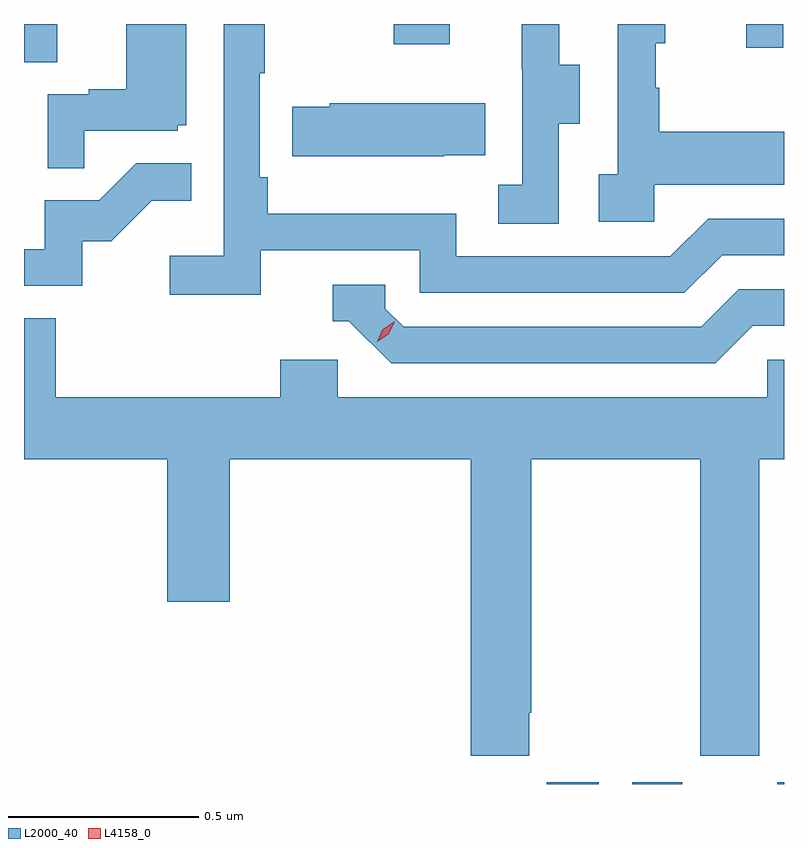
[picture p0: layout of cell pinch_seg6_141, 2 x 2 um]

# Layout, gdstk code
import gdstk
lib = gdstk.Library(unit=1e-6, precision=1e-09)
def R(c, l, rs):  # rectangles x0, y0, x1, y1
    for r in rs: c.add(gdstk.rectangle(r[:2], r[2:], *l))
def P(c, l, *ps):  # polygons
    for p in ps: c.add(gdstk.Polygon(p, *l))
L2000_40 = (2000, 40)
L4158_0 = (4158, 0)

pinch_seg6_141 = lib.new_cell('pinch_seg6_141')
R(pinch_seg6_141, L2000_40, [(993.179,921.174,993.316,921.178), (993.404,921.174,993.535,921.178), (993.785,921.174,993.803,921.178), (991.803,923.074,991.891,923.174), (993.704,923.112,993.801,923.174), (992.776,923.121,992.923,923.174)])
P(pinch_seg6_141, L2000_40, [(991.961,922.893),(992.208,922.893),(992.208,922.908),(992.23,922.908),(992.23,923.174),(992.072,923.174),(992.072,923.002),(991.973,923.002),(991.973,922.989),(991.866,922.989),(991.866,922.795),(991.961,922.795)],
  [(992.426,922.578),(992.844,922.578),(992.844,922.467),(993.541,922.467),(993.64,922.566),(993.803,922.566),(993.803,922.662),(993.603,922.662),(993.504,922.563),(992.94,922.563),(992.94,922.675),(992.444,922.675),(992.444,922.771),(992.424,922.771),(992.424,923.044),(992.437,923.044),(992.437,923.174),(992.328,923.174),(992.328,922.564),(992.187,922.564),(992.187,922.462),(992.426,922.462)],
  [(993.21,922.912),(993.265,922.912),(993.265,923.067),(993.211,923.067),(993.211,923.174),(993.113,923.174),(993.113,923.055),(993.114,923.055),(993.114,922.751),(993.051,922.751),(993.051,922.648),(993.21,922.648)],
  [(993.462,922.751),(993.803,922.751),(993.803,922.891),(993.475,922.891),(993.475,923.006),(993.465,923.006),(993.465,923.124),(993.49,923.124),(993.49,923.174),(993.366,923.174),(993.366,922.778),(993.315,922.778),(993.315,922.653),(993.462,922.653)],
  [(992.909,922.829),(993.017,922.829),(993.017,922.966),(992.607,922.966),(992.607,922.956),(992.509,922.956),(992.509,922.826),(992.909,922.826)],
  [(991.956,922.602),(992.032,922.602),(992.139,922.709),(992.243,922.709),(992.243,922.808),(992.099,922.808),(992.001,922.71),(991.857,922.71),(991.857,922.581),(991.803,922.581),(991.803,922.485),(991.956,922.485)],
  [(993.721,922.38),(993.803,922.38),(993.803,922.476),(993.684,922.476),(993.585,922.377),(992.802,922.377),(992.754,922.425),(992.754,922.488),(992.615,922.488),(992.615,922.392),(992.658,922.392),(992.769,922.281),(993.622,922.281)],
  [(991.803,922.4),(991.803,922.028),(992.18,922.028),(992.18,921.654),(992.344,921.654),(992.344,922.028),(992.978,922.028),(992.978,921.249),(993.133,921.249),(993.133,921.361),(993.138,921.361),(993.138,922.028),(993.583,922.028),(993.583,921.249),(993.738,921.249),(993.738,922.028),(993.803,922.028),(993.803,922.29),(993.759,922.29),(993.759,922.192),(992.628,922.192),(992.628,922.29),(992.477,922.29),(992.477,922.192),(991.886,922.192),(991.886,922.4)])
P(pinch_seg6_141, L4158_0, [(992.732,922.338),(992.732,922.338),(992.747,922.371),(992.778,922.392),(992.778,922.392),(992.778,922.391),(992.762,922.358),(992.732,922.338)])

lib.write_gds('pinch_seg6_141.gds')
